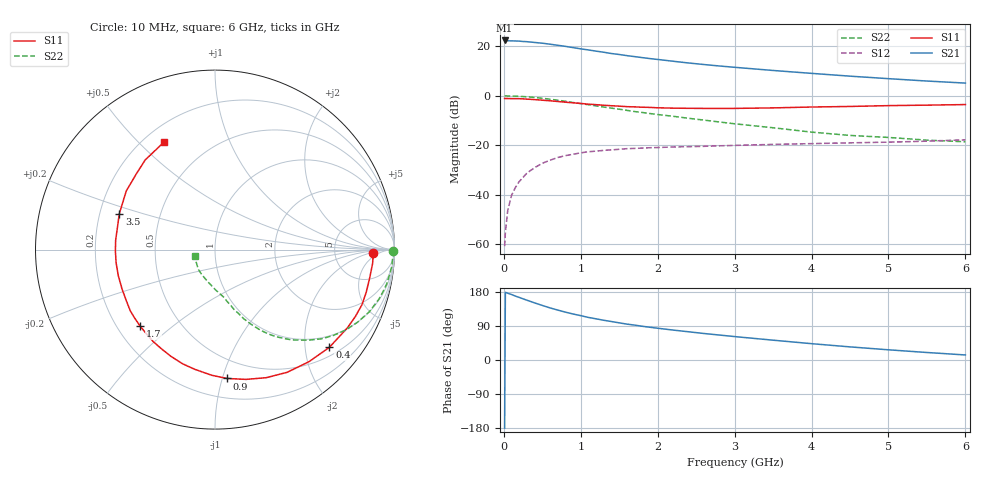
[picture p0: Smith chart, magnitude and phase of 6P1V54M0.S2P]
! (c) 1999  Infineon Technologies AG, Munich
! Infineon Technologies  Discrete & RF Semiconductors
! BFP540
! Si NPN RF SIEGET Grounded Emitter Transistor in SOT343
! VCE = 1.5 V  IC = 4 mA
! Common Emitter S-Parameters:  April  1999
# GHz  S  MA  R  50
!  f  S11  S21  S12  S22
! GHz  MAG  ANG  MAG  ANG  MAG  ANG  MAG  ANG
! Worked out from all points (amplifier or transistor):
!   36 points, 10 MHz to 6 GHz, reference 50 ohm
!   highest |S21| = 22.4 dB at 10 MHz (marker M1)
!   |S21| within 3 dB of that: start of sweep to 920.2 MHz
!   unconditionally stable (mu >= 1): 3.561 GHz to end of sweep
!   at 250 MHz: K = 0.05, MSG = 27.5 dB, |S12| = -33.0 dB
!   at 1.4 GHz: K = 0.40, MSG = 19.5 dB, |S12| = -21.9 dB
!   at 6 GHz: K = 1.28, MAG = 8.3 dB, |S12| = -17.8 dB
!   lowest NFmin = 0.65 dB at 900 MHz
!   S11 on the Smith chart (normalised r, x): 10 MHz: 16, -2; 400 MHz: 0.69, -2.54; 900 MHz: 0.35, -1.04; 1.7 GHz: 0.29, -0.39; 3.5 GHz: 0.28, +0.17; 6 GHz: 0.28, +0.60
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0.01  0.8819 -1.1  13.22 -179.8  0.0009 70.8  0.9905 -0.5
0.02  0.8821 -2.1  13.07 178.6  0.0017 100.7  0.9972 -1.3
0.05  0.8814 -5.1  13.02 176.2  0.0047 89.3  0.9909 -2.8
0.1  0.8761 -10.3  12.97 172.8  0.0096 87.0  0.9887 -5.6
0.2  0.8744 -20.6  12.81 165.1  0.0183 80.7  0.976 -11.2
0.3  0.8568 -30.6  12.49 157.8  0.0272 76.0  0.9545 -16.7
0.4  0.8383 -40.5  12.04 150.7  0.035 69.9  0.9272 -21.9
0.5  0.815 -50.0  11.64 144.0  0.043 66.0  0.8921 -26.9
0.6  0.7933 -59.5  11.1 137.5  0.0496 62.0  0.8545 -31.7
0.8  0.7434 -76.6  10.04 126.3  0.0614 53.8  0.7749 -39.9
0.9  0.721 -84.7  9.47 121.4  0.0654 50.3  0.7315 -43.5
1.1  0.6769 -99.4  8.49 112.3  0.0736 44.4  0.6595 -49.7
1.4  0.6295 -117.8  7.18 101.5  0.0804 37.5  0.5619 -57.2
1.6  0.6033 -130.0  6.514 94.7  0.085 33.9  0.507 -61.1
1.7  0.5962 -134.5  6.223 92.1  0.086 32.6  0.4798 -62.9
1.9  0.5821 -144.3  5.672 86.4  0.0888 29.8  0.4372 -65.9
2.2  0.5627 -156.8  5.016 79.0  0.092 27.2  0.3849 -69.4
2.8  0.5551 -179.1  4.021 65.9  0.097 23.0  0.2952 -77.0
3.5  0.5693 159.5  3.261 52.3  0.1037 19.8  0.2253 -89.0
4.5  0.6086 136.0  2.501 34.6  0.1115 15.8  0.1575 -117.9
5.5  0.6469 120.4  1.992 19.8  0.1205 14.0  0.1265 -145.4
6  0.6646 115.1  1.81 13.3  0.1283 13.0  0.1171 -162.1
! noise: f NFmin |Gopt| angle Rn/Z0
0.9  0.65  0  0  0
1.8  0.92  0  0  0
2.4  1.12  0  0  0
3  1.25  0  0  0
4  1.42  0  0  0
5  1.88  0  0  0
6  2.15  0  0  0
